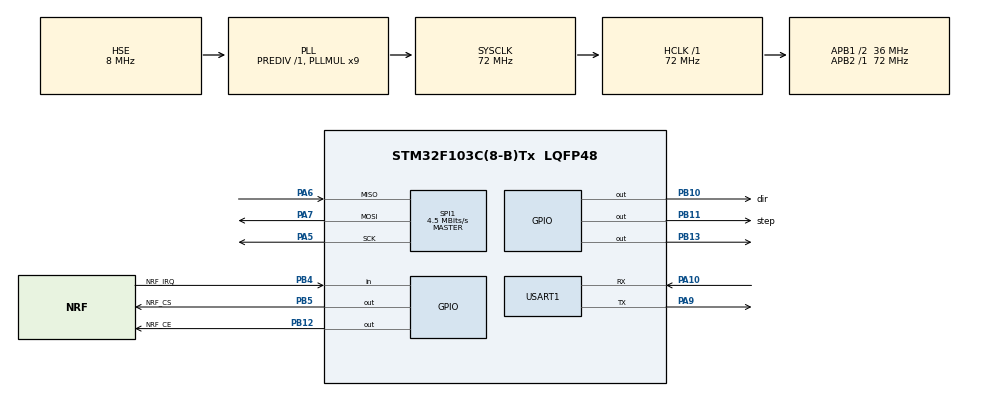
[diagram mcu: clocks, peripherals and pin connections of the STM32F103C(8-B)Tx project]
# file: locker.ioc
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Mcu.Family=STM32F1
Mcu.Name=STM32F103C(8-B)Tx
Mcu.Package=LQFP48
NVIC.PriorityGroup=NVIC_PRIORITYGROUP_4
NVIC.USART1_IRQn=true\:0\:0\:false\:false\:true\:true\:true
PA10.Mode=Asynchronous
PA10.Signal=USART1_RX
PA13.Mode=Serial_Wire
PA13.Signal=SYS_JTMS-SWDIO
PA14.Mode=Serial_Wire
PA14.Signal=SYS_JTCK-SWCLK
PA5.Mode=Full_Duplex_Master
PA5.Signal=SPI1_SCK
PA6.Mode=Full_Duplex_Master
PA6.Signal=SPI1_MISO
PA7.Mode=Full_Duplex_Master
PA7.Signal=SPI1_MOSI
PA9.Mode=Asynchronous
PA9.Signal=USART1_TX
PB10.GPIO_Label=dir
PB10.GPIO_ModeDefaultOutputPP=GPIO_MODE_OUTPUT_OD
PB10.Signal=GPIO_Output
PB11.GPIO_Label=step
PB11.GPIO_ModeDefaultOutputPP=GPIO_MODE_OUTPUT_OD
PB11.GPIO_PuPd=GPIO_NOPULL
PB11.Signal=GPIO_Output
PB12.GPIO_Label=NRF_CE
PB12.GPIO_PuPd=GPIO_PULLUP
PB12.Signal=GPIO_Output
PB13.GPIO_ModeDefaultOutputPP=GPIO_MODE_OUTPUT_OD
PB13.PinState=GPIO_PIN_RESET
PB13.Signal=GPIO_Output
PB4.GPIO_Label=NRF_IRQ
PB4.GPIO_PuPd=GPIO_PULLUP
PB4.Signal=GPIO_Input
PB5.GPIO_Label=NRF_CS
PB5.GPIO_PuPd=GPIO_PULLUP
PB5.Signal=GPIO_Output
PD0-OSC_IN.Mode=HSE-External-Oscillator
PD0-OSC_IN.Signal=RCC_OSC_IN
PD1-OSC_OUT.Mode=HSE-External-Oscillator
PD1-OSC_OUT.Signal=RCC_OSC_OUT
ProjectManager.HeapSize=0x200
ProjectManager.StackSize=0x400
ProjectManager.TargetToolchain=Makefile
RCC.AHBFreq_Value=72000000
RCC.APB1CLKDivider=RCC_HCLK_DIV2
RCC.APB1Freq_Value=36000000
RCC.APB1TimFreq_Value=72000000
RCC.APB2Freq_Value=72000000
RCC.APB2TimFreq_Value=72000000
RCC.HCLKFreq_Value=72000000
RCC.PLLMUL=RCC_PLL_MUL9
RCC.PLLSourceVirtual=RCC_PLLSOURCE_HSE
RCC.SYSCLKFreq_VALUE=72000000
RCC.SYSCLKSource=RCC_SYSCLKSOURCE_PLLCLK
RCC.USBFreq_Value=72000000
SPI1.BaudRatePrescaler=SPI_BAUDRATEPRESCALER_16
SPI1.CalculateBaudRate=4.5 MBits/s
SPI1.Direction=SPI_DIRECTION_2LINES
SPI1.Mode=SPI_MODE_MASTER
SPI1.VirtualType=VM_MASTER
USART1.VirtualMode=VM_ASYNC
board=custom

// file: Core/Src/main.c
/* USER CODE BEGIN Header */
/**
  ******************************************************************************
  * @file           : main.c
  * @brief          : Main program body
  ******************************************************************************
  * @attention
  *
  * <h2><center>&copy; Copyright (c) 2023 STMicroelectronics.
  * All rights reserved.</center></h2>
  *
  * This software component is licensed by ST under BSD 3-Clause license,
  * the "License"; You may not use this file except in compliance with the
  * License. You may obtain a copy of the License at:
  *                        opensource.org/licenses/BSD-3-Clause
  *
  ******************************************************************************
  */
/* USER CODE END Header */
#include "main.h"
#include "spi.h"
#include "usart.h"
#include "gpio.h"

void SystemClock_Config(void);

/* USER CODE BEGIN 0 */
extern int key=0;
extern char Receive_nrf[2]={0};
extern char Receive_uart[2]={0};
int getinfo_nrf(char *Receive_nrf)
 {

    if(NRF24L01_RxPacket(Receive_nrf)==0)
      {
      u1_printf("NRF24L01:%s",Receive_nrf);
      if(Receive_nrf[0]=='1')
      {key = 1;;}
      else if(Receive_nrf[0] == '2')
      {key = 2;;}
      else
      key = 0;
      }

      return 0;

 }
 int getinfo_uart(char *Receive_uart)
 {
     HAL_UART_Receive_IT(&huart1,Receive_uart,1);

    if (Receive_uart[0] =='1' )
    {key = 1;return 1;}
    else if(Receive_uart[0]=='2')
    {key = 2; return 1;}
    else
    key = 0;
    return 1;
 }
 void clearbuffer()
 {
    Receive_uart[0]=0;
  Receive_nrf[0]=0;
  key = 0;
 }
/* USER CODE END 0 */

int main(void)
{

  /* MCU Configuration--------------------------------------------------------*/

  /* Reset of all peripherals, Initializes the Flash interface and the Systick. */
  HAL_Init();

  /* Configure the system clock */
  SystemClock_Config();

  /* Initialize all configured peripherals */
  MX_GPIO_Init();
  MX_USART1_UART_Init();
  MX_SPI1_Init();

  /* Infinite loop */
  /* USER CODE BEGIN WHILE */
 while(NRF24L01_Check())
	{
		u1_printf("worong wrpng\r\n");
 		HAL_Delay(1000);
	}
  NRF24L01_RX_Mode();
	u1_printf("NRF24L01  working\r\n");
  u1_printf("receiveing:\r\n");

  // if(HAL_GPIO_ReadPin(GPIOA,11)==1)
  //    {
  //      getinfo_uart(Receive_uart);
  //    }
  //   getinfo_nrf(Receive_nrf);

  //   switch (key)
  //   {
  //     case 0:
  //       break;
  //     case 1:
  //       loop(0,60);break;
  //     case 2:
  //       loop(1,60);break;
  //   }
  //   key = 0;
  //   HAL_Delay(500);
  int flag = 0;
  while (1)
  {
    /* USER CODE END WHILE */
    //getinfo_uart(Receive_uart);
    getinfo_nrf(Receive_nrf);

    switch (key)
    {
      case 0:
        if(flag == 0)u1_printf("connection will be cut!\n");flag = 1;break;
      case 1:
        flag = 0;u1_printf("open the door\n");HAL_GPIO_WritePin(GPIOB,GPIO_PIN_13,SET);loop(0,100);HAL_GPIO_WritePin(GPIOB,GPIO_PIN_13,RESET);break;
      case 2:
        flag = 0;u1_printf("close the door\n");HAL_GPIO_WritePin(GPIOB,GPIO_PIN_13,SET);loop(1,100);HAL_GPIO_WritePin(GPIOB,GPIO_PIN_13,RESET);break;
    }
    //
   //

   //HAL_GPIO_WritePin(GPIOB,GPIO_PIN_13,SET);
    clearbuffer();
     HAL_Delay(500);
    //  HAL_Delay(1500);
      // HAL_GPIO_WritePin(GPIOB,GPIO_PIN_13,RESET);
    /* USER CODE BEGIN 3 */
    //clearbuffer(Receive_nrf,Receive_uart);

  }
  /* USER CODE END 3 */
}

void SystemClock_Config(void)
{
  RCC_OscInitTypeDef RCC_OscInitStruct = {0};
  RCC_ClkInitTypeDef RCC_ClkInitStruct = {0};

  /** Initializes the RCC Oscillators according to the specified parameters
  * in the RCC_OscInitTypeDef structure.
  */
  RCC_OscInitStruct.OscillatorType = RCC_OSCILLATORTYPE_HSE;
  RCC_OscInitStruct.HSEState = RCC_HSE_ON;
  RCC_OscInitStruct.HSEPredivValue = RCC_HSE_PREDIV_DIV1;
  RCC_OscInitStruct.HSIState = RCC_HSI_ON;
  RCC_OscInitStruct.PLL.PLLState = RCC_PLL_ON;
  RCC_OscInitStruct.PLL.PLLSource = RCC_PLLSOURCE_HSE;
  RCC_OscInitStruct.PLL.PLLMUL = RCC_PLL_MUL9;
  if (HAL_RCC_OscConfig(&RCC_OscInitStruct) != HAL_OK)
  {
    Error_Handler();
  }
  /** Initializes the CPU, AHB and APB buses clocks
  */
  RCC_ClkInitStruct.ClockType = RCC_CLOCKTYPE_HCLK|RCC_CLOCKTYPE_SYSCLK
                              |RCC_CLOCKTYPE_PCLK1|RCC_CLOCKTYPE_PCLK2;
  RCC_ClkInitStruct.SYSCLKSource = RCC_SYSCLKSOURCE_PLLCLK;
  RCC_ClkInitStruct.AHBCLKDivider = RCC_SYSCLK_DIV1;
  RCC_ClkInitStruct.APB1CLKDivider = RCC_HCLK_DIV2;
  RCC_ClkInitStruct.APB2CLKDivider = RCC_HCLK_DIV1;

  if (HAL_RCC_ClockConfig(&RCC_ClkInitStruct, FLASH_LATENCY_2) != HAL_OK)
  {
    Error_Handler();
  }
}

/* USER CODE BEGIN 4 */
void HAL_UART_RxCpltCallback(UART_HandleTypeDef *huart)
{
  /* Prevent unused argument(s) compilation warning */
  UNUSED(huart);
  /* NOTE: This function should not be modified, when the callback is needed,
           the HAL_UART_RxCpltCallback could be implemented in the user file
   */

 // while(HAL_UART_Receive_IT(&huart1, Receive_uart, 1) != HAL_OK); // Wait completly receive 1 byte data, and put data in rDataBuffer
}
/* USER CODE END 4 */

void Error_Handler(void)
{
  __disable_irq();
  while (1)
  {
  }
}

/************************ (C) COPYRIGHT STMicroelectronics *****END OF FILE****/
